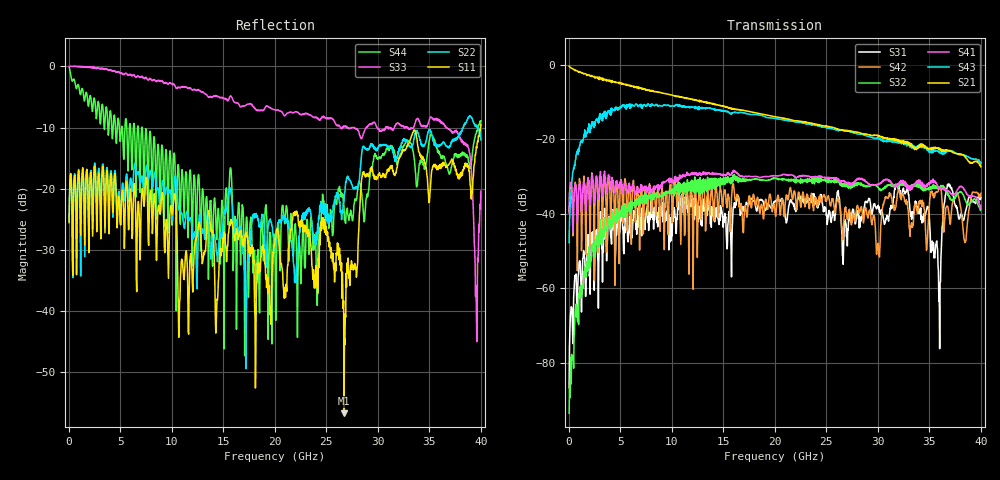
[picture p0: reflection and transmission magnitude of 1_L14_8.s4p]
! 7/15/2021 6:49:23 PM
! C:\USERS\VECTORSTARUSER\DESKTOP\SAMPLE\2021\PD7\18VPD7094DY\1-L14-8.S4P
! CHANNEL.1
! TR.MEASUREMENT
! CORRECTED.DATA
! RF.CORRECTION: FULL.FOUR.PORT.CAL.PORT.1.2.3.4
! AVERAGING.OFF
! IF.BANDWIDTH: 1KHZ
! SWEEPTYPE:  FREQ.SWEEP(Linear)
! Reference Plane Port Info
! PORT:  PORT1  PORT2  PORT3  PORT4
! DISTANCE:  0  m  0  m  0  m  0  m
! TIME:  0  s  0  s  0  s  0  s
! PHASE.OFFSET:  0 °  0 °  0 °  0 °
! LOSS:  0  dB  0  dB  0  dB  0  dB
! REF.LOSS:  0  dB  0  dB  0  dB  0  dB
! REF.FREQ:  0  Hz  0  Hz  0  Hz  0  Hz
! Power Info
! POWER:  -10  dBm  -10  dBm  -10  dBm  -10  dBm
! EFF.POWER:  -10  dBm  -10  dBm  -10  dBm  -10  dBm
# GHZ S RI R 50.0
! FREQ.GHZ  S11RE  S11IM  S12RE  S12IM  S13RE  S13IM  S14RE  S14IM
!  S21RE  S21IM  S22RE  S22IM  S23RE  S23IM  S24RE  S24IM
!  S31RE  S31IM  S32RE  S32IM  S33RE  S33IM  S34RE  S34IM
!  S41RE  S41IM  S42RE  S42IM  S43RE  S43IM  S44RE  S44IM
!; PortSelection: Port_1234
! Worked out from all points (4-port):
!   1000 points, 40 MHz to 40 GHz, reference 50 ohm
!   strongest paths, dB at 40 MHz, 10.04 GHz, 20.04 GHz, 30.04 GHz, 40 GHz:
!     S21: -0.4, -8.2, -14.0, -19.2, -27.5
!     S43: -47.8, -11.1, -14.5, -19.9, -26.3
!     S41: -39.9, -30.9, -29.8, -32.3, -38.1
!     S32: -93.6, -34.2, -30.4, -33.0, -38.8
!     S42: -39.5, -42.4, -40.0, -48.4, -34.5
!     S31: -86.7, -46.0, -36.8, -37.8, -35.7
!   lowest |S11| = -56.7 dB at 26.72 GHz (marker M1), VSWR 1.00, Z = 50.1 + j0.0715 ohm
!   |S11| at or under -10 dB: start of sweep to 39.96 GHz
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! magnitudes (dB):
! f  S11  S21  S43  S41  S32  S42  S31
! 40 MHz  -25.6  -0.4  -47.8  -39.9  -93.6  -39.5  -86.7
! 5.2 GHz  -20.3  -5.0  -11.2  -34.6  -37.8  -35.6  -41.4
! 26.72 GHz  -56.7  -17.8  -17.6  -31.2  -32.7  -41.3  -45.2
! 28.64 GHz  -17.2  -18.5  -18.9  -30.8  -32.7  -41.9  -39.2
! 35.96 GHz  -16.6  -22.4  -23.2  -33.0  -33.4  -32.8  -61.0
! 36.76 GHz  -16.2  -23.1  -23.3  -33.9  -34.2  -38.1  -32.2
! 40 GHz  -9.5  -27.5  -26.3  -38.1  -38.8  -34.5  -35.7
